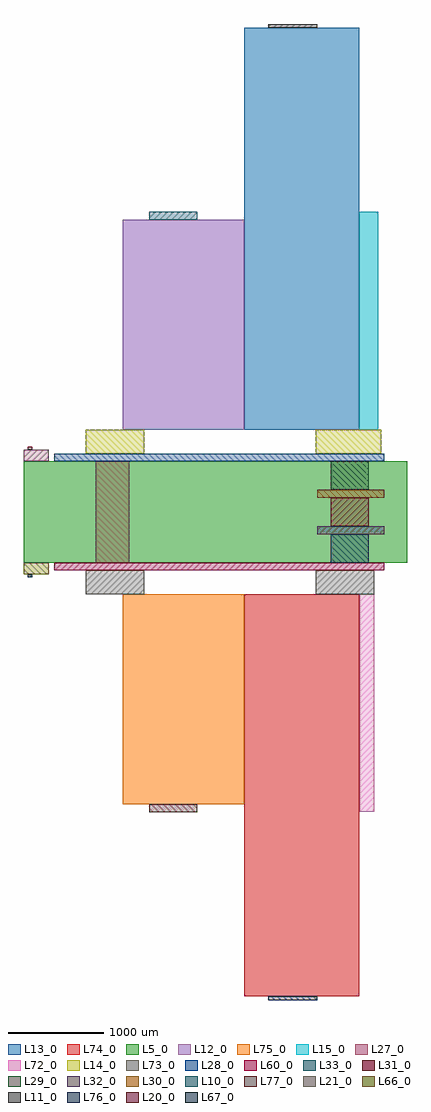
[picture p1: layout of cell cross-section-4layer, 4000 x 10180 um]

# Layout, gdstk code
import gdstk
lib = gdstk.Library(unit=1e-6, precision=1e-09)
def R(c, l, rs):  # rectangles x0, y0, x1, y1
    for r in rs: c.add(gdstk.rectangle(r[:2], r[2:], *l))
L5_0 = (5, 0)
L10_0 = (10, 0)
L11_0 = (11, 0)
L12_0 = (12, 0)
L13_0 = (13, 0)
L14_0 = (14, 0)
L15_0 = (15, 0)
L20_0 = (20, 0)
L21_0 = (21, 0)
L27_0 = (27, 0)
L28_0 = (28, 0)
L29_0 = (29, 0)
L30_0 = (30, 0)
L31_0 = (31, 0)
L32_0 = (32, 0)
L33_0 = (33, 0)
L60_0 = (60, 0)
L66_0 = (66, 0)
L67_0 = (67, 0)
L72_0 = (72, 0)
L73_0 = (73, 0)
L74_0 = (74, 0)
L75_0 = (75, 0)
L76_0 = (76, 0)
L77_0 = (77, 0)

cross_section_4layer = lib.new_cell('cross-section-4layer')
R(cross_section_4layer, L5_0, [(0,-1060,4000,0)])
R(cross_section_4layer, L10_0, [(1308,2520,1810,2600)])
R(cross_section_4layer, L11_0, [(2548.3,4520,3060,4560)])
R(cross_section_4layer, L12_0, [(1030.25,330,2300,2520)])
R(cross_section_4layer, L13_0, [(2300,330,3500,4520)])
R(cross_section_4layer, L14_0, [(647.1,80,1257.1,330), (3047.1,80,3727.1,330)])
R(cross_section_4layer, L15_0, [(3500,330,3700,2600)])
R(cross_section_4layer, L20_0, [(40,120,89.95,150)])
R(cross_section_4layer, L21_0, [(0,0,260,120)])
R(cross_section_4layer, L27_0, [(750,-1060,1100,0)])
R(cross_section_4layer, L28_0, [(320,0,3760,80)])
R(cross_section_4layer, L29_0, [(3200,-300,3600,0)])
R(cross_section_4layer, L30_0, [(3060,-380,3760,-300)])
R(cross_section_4layer, L31_0, [(3200,-680,3600,-380)])
R(cross_section_4layer, L32_0, [(3060,-760,3760,-680)])
R(cross_section_4layer, L33_0, [(3200,-1060,3600,-760)])
R(cross_section_4layer, L60_0, [(320,-1140,3760,-1060)])
R(cross_section_4layer, L66_0, [(0,-1180,260,-1060)])
R(cross_section_4layer, L67_0, [(40,-1210,89.95,-1180)])
R(cross_section_4layer, L72_0, [(3507.1,-3656.2,3657.1,-1390)])
R(cross_section_4layer, L73_0, [(647.1,-1390,1257.1,-1140), (3047.1,-1390,3657.1,-1140)])
R(cross_section_4layer, L74_0, [(2300,-5580,3500,-1390)])
R(cross_section_4layer, L75_0, [(1030.25,-3580,2300,-1390)])
R(cross_section_4layer, L76_0, [(2548.3,-5620,3060,-5580)])
R(cross_section_4layer, L77_0, [(1308,-3660,1810,-3580)])

lib.write_gds('cross-section-4layer.gds')
